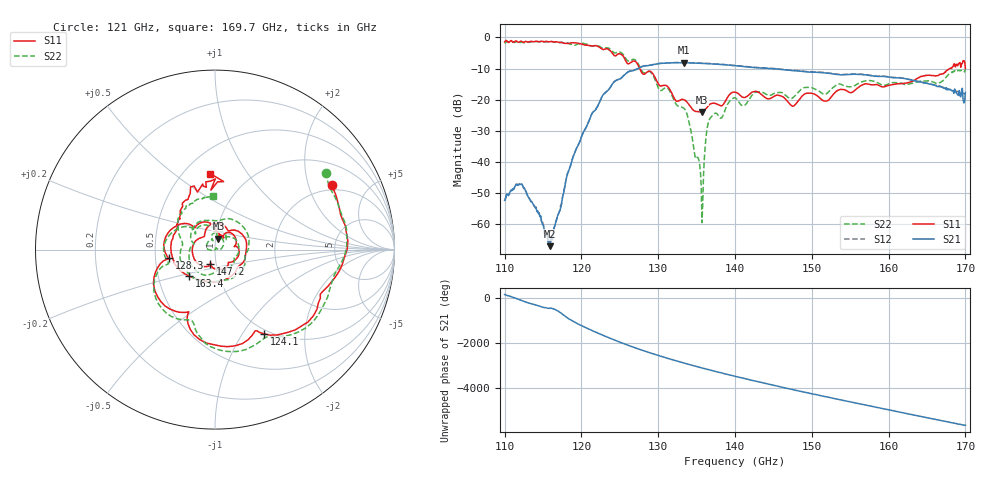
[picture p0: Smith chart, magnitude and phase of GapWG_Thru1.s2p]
!Keysight Technologies,N5245B,MY49151002,A.19.00.09
!Date: Tuesday, March 11, 2025 14:13:09
!Correction: S11(C  2-Port  )
!S21(C  2-Port  )
!S12(C  2-Port  )
!S22(C  2-Port  )
!S2P File: Measurements: S11, S21, S12, S22:
# Hz S  dB  R 50
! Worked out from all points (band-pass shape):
!   601 points, 110 GHz to 170 GHz, reference 50 ohm
!   highest |S21| = -8.11 dB at 133.3 GHz (marker M1); lowest = -67.2 dB at 115.9 GHz (marker M2)
!   |S21| within 3 dB of the highest: 126.1 GHz to 149.5 GHz (23.43 GHz wide, 17 % of centre)
!   lowest |S11| = -24.0 dB at 135.7 GHz (marker M3), VSWR 1.14, Z = 51.5 + j6.25 ohm
!   |S11| at or under -10 dB: 127.6 GHz to 167.9 GHz (40.32 GHz wide, 27.3 % of centre)
!   |S22| runs from -59.6 to -1.3 dB; largest |S21 - S12| = 0.15
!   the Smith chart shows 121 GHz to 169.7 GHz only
!   S11 on the Smith chart (normalised r, x): 121 GHz: 1.78, +2.85; 124.1 GHz: 0.94, -1.26; 128.3 GHz: 0.59, -0.06; 147.2 GHz: 0.94, -0.15; 163.4 GHz: 0.72, -0.22; 169.7 GHz: 0.67, +0.69
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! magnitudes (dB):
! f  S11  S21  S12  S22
! 110 GHz  -1.4  -52.4  -52.2  -1.7
! 112.3 GHz  -1.4  -47.4  -47.5  -1.5
! 115.9 GHz  -1.4  -67.2  -67.0  -1.4
! 118.3 GHz  -1.9  -43.3  -43.1  -1.9
! 120 GHz  -2.1  -32.0  -32.0  -2.0
! 121 GHz  -2.6  -26.8  -26.7  -2.4
! 124.1 GHz  -5.3  -14.7  -14.7  -4.7
! 128.3 GHz  -11.6  -9.1  -9.1  -11.3
! 130 GHz  -14.9  -8.4  -8.4  -16.2
! 133.3 GHz  -20.0  -8.1  -8.1  -22.7
! 135.7 GHz  -24.0  -8.3  -8.3  -59.6
! 136 GHz  -23.5  -8.4  -8.3  -39.3
! 136.3 GHz  -22.7  -8.4  -8.4  -30.6
! 136.7 GHz  -21.6  -8.5  -8.4  -26.2
! 140 GHz  -17.6  -9.1  -9.0  -19.4
! 147.2 GHz  -21.6  -10.6  -10.5  -19.6
! 150 GHz  -18.0  -11.2  -11.1  -16.1
! 151.8 GHz  -20.5  -11.4  -11.3  -18.2
! 160 GHz  -15.4  -12.7  -12.7  -14.9
! 163.4 GHz  -13.7  -13.9  -13.9  -14.6
! 169.7 GHz  -7.4  -20.0  -17.9  -10.5
! 170 GHz  -9.9  -17.7  -18.2  -10.3
